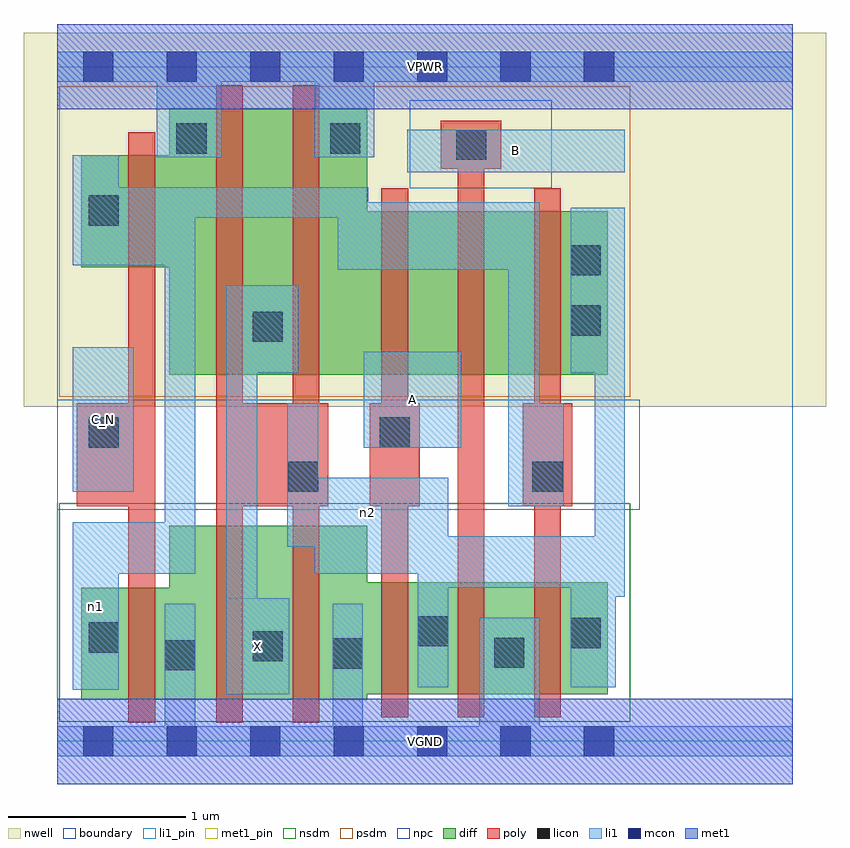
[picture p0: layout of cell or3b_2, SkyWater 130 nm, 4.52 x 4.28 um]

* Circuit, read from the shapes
.subckt or3b_2 A B C_N VGND VPWR X n1 n2
XM1 VGND C_N n1 VSUBS sky130_fd_pr__nfet_01v8 w=0.63 l=0.15
XM2 X n2 VGND VSUBS sky130_fd_pr__nfet_01v8 w=0.98 l=0.15 m=2
XM3 n2 A VGND VSUBS sky130_fd_pr__nfet_01v8 w=0.63 l=0.15
XM4 VGND B n2 VSUBS sky130_fd_pr__nfet_01v8 w=0.63 l=0.15
XM5 n2 n1 VGND VSUBS sky130_fd_pr__nfet_01v8 w=0.63 l=0.15
XM6 VPWR C_N n1 n3 sky130_fd_pr__pfet_01v8 w=0.63 l=0.15
XM7 X n2 VPWR n3 sky130_fd_pr__pfet_01v8 w=1.5 l=0.15 m=2
XM8 n4 A VPWR n3 sky130_fd_pr__pfet_01v8 w=0.92 l=0.15
XM9 n5 B n4 n3 sky130_fd_pr__pfet_01v8 w=0.92 l=0.15
XM10 n2 n1 n5 n3 sky130_fd_pr__pfet_01v8 w=0.92 l=0.15
.ends

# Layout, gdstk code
import gdstk
lib = gdstk.Library(unit=1e-6, precision=1e-09)
def R(c, l, rs):  # rectangles x0, y0, x1, y1
    for r in rs: c.add(gdstk.rectangle(r[:2], r[2:], *l))
def A(c, l, x, y, w, h, nx, ny, dx, dy):  # array of equal rectangles
    R(c, l, [(x+i*dx, y+j*dy, x+i*dx+w, y+j*dy+h) for i in range(nx) for j in range(ny)])
nwell = (64, 20)
diff = (65, 20)
poly = (66, 20)
licon = (66, 44)
li1_pin = (67, 16)
li1 = (67, 20)
mcon = (67, 44)
met1_pin = (68, 16)
met1 = (68, 20)
nsdm = (93, 44)
psdm = (94, 20)
npc = (95, 20)
boundary = (235, 4)

or3b_2 = lib.new_cell('or3b_2')
R(or3b_2, nwell, [(-0.19,1.885,4.33,3.99), (0,1.885,4.14,3.99)])
R(or3b_2, diff, [(0.135,0.235,1.745,0.865), (0.63,0.235,1.745,1.215), (0.135,0.265,3.1,0.865), (0.63,0.265,3.1,0.895), (0.63,2.065,1.745,3.565), (0.63,2.065,3.1,2.985), (0.135,2.67,1.745,3.3)])
R(or3b_2, poly, [(0.4,0.105,0.55,3.43), (0.895,0.105,1.045,3.695), (1.325,0.105,1.475,3.695), (1.825,0.135,1.975,3.115), (2.255,0.135,2.405,3.495), (2.685,0.135,2.835,3.115), (0.11,1.325,0.55,1.905), (0.895,1.325,1.525,1.905), (1.76,1.325,2.04,1.905), (2.62,1.325,2.9,1.905), (2.16,3.225,2.5,3.495)])
R(or3b_2, licon, [(0.605,0.4,0.775,0.57), (1.55,0.41,1.72,0.58), (2.46,0.415,2.63,0.585), (1.1,0.45,1.27,0.62), (0.175,0.5,0.345,0.67), (2.89,0.525,3.06,0.695), (2.03,0.535,2.2,0.705), (1.3,1.405,1.47,1.575), (2.675,1.405,2.845,1.575), (0.175,1.655,0.345,1.825), (1.815,1.655,1.985,1.825), (1.1,2.25,1.27,2.42), (2.89,2.285,3.06,2.455), (2.89,2.625,3.06,2.795), (0.175,2.905,0.345,3.075), (2.245,3.275,2.415,3.445), (0.67,3.31,0.84,3.48), (1.535,3.31,1.705,3.48)])
R(or3b_2, li1_pin, [(0.95,0.265,1.305,0.805), (0.085,1.405,0.43,2.22), (1.725,1.655,2.275,2.195), (1.97,3.205,3.195,3.445)])
R(or3b_2, li1, [(0,-0.085,4.14,0.085), (0.605,-0.085,0.775,0.775), (1.55,-0.085,1.72,0.775), (2.375,-0.085,2.715,0.695), (0.95,0.265,1.125,2.57), (0.95,0.265,1.305,0.805), (0.085,0.29,0.345,1.235), (2.03,0.305,2.2,1.485), (2.89,0.305,3.145,1.155), (3.025,0.815,3.195,3.005), (2.03,0.865,3.195,1.155), (0.085,0.945,0.775,1.235), (0.605,0.945,0.775,3.12), (1.45,0.945,3.025,1.155), (1.295,1.095,2.2,1.485), (1.295,1.095,1.47,1.905), (1.295,1.095,1.625,1.265), (2.54,1.325,2.715,3.035), (2.54,1.325,2.85,1.905), (0.085,1.405,0.43,2.22), (1.725,1.655,2.275,2.195), (0.95,2.075,1.355,2.57), (2.89,2.075,3.195,3.005), (1.58,2.655,2.715,3.035), (0.085,2.68,0.345,3.3), (0.085,2.68,0.775,3.12), (0.085,2.95,1.75,3.12), (1.97,3.205,3.195,3.445), (0.56,3.29,0.925,3.885), (1.45,3.29,1.785,3.885), (0,3.715,4.14,3.885)])
A(or3b_2, mcon, 0.145, -0.085, 0.17, 0.17, 7, 2, 0.47, 3.8)
R(or3b_2, met1_pin, [(0,-0.24,4.14,0.24), (0,3.56,4.14,4.04)])
R(or3b_2, met1, [(0,-0.24,4.14,0.24), (0,3.56,4.14,4.04)])
R(or3b_2, nsdm, [(0.01,0.11,3.225,1.34)])
R(or3b_2, psdm, [(0.01,1.94,3.225,3.69)])
R(or3b_2, npc, [(0,1.305,3.28,1.925), (1.985,3.115,2.785,3.61)])
R(or3b_2, boundary, [(0,0,4.14,3.8)])
or3b_2.add(gdstk.Label('A', (2,1.925), layer=67, texttype=5))
or3b_2.add(gdstk.Label('B', (2.582,3.325), layer=67, texttype=5))
or3b_2.add(gdstk.Label('C_N', (0.257,1.812), layer=67, texttype=5))
or3b_2.add(gdstk.Label('X', (1.127,0.535), layer=67, texttype=5))
or3b_2.add(gdstk.Label('n2', (1.747,1.29), layer=67, texttype=5))
or3b_2.add(gdstk.Label('n1', (0.215,0.762), layer=67, texttype=5))
or3b_2.add(gdstk.Label('VPWR', (2.07,3.8), layer=68, texttype=5))
or3b_2.add(gdstk.Label('VGND', (2.07,0), layer=68, texttype=5))
or3b_2.add(gdstk.Label('A', (2,1.925), layer=67, texttype=16))
or3b_2.add(gdstk.Label('B', (2.582,3.325), layer=67, texttype=16))
or3b_2.add(gdstk.Label('C_N', (0.257,1.812), layer=67, texttype=16))
or3b_2.add(gdstk.Label('X', (1.127,0.535), layer=67, texttype=16))
or3b_2.add(gdstk.Label('VPWR', (2.07,3.8), layer=68, texttype=16))
or3b_2.add(gdstk.Label('VGND', (2.07,0), layer=68, texttype=16))

lib.write_gds('or3b_2.gds')
